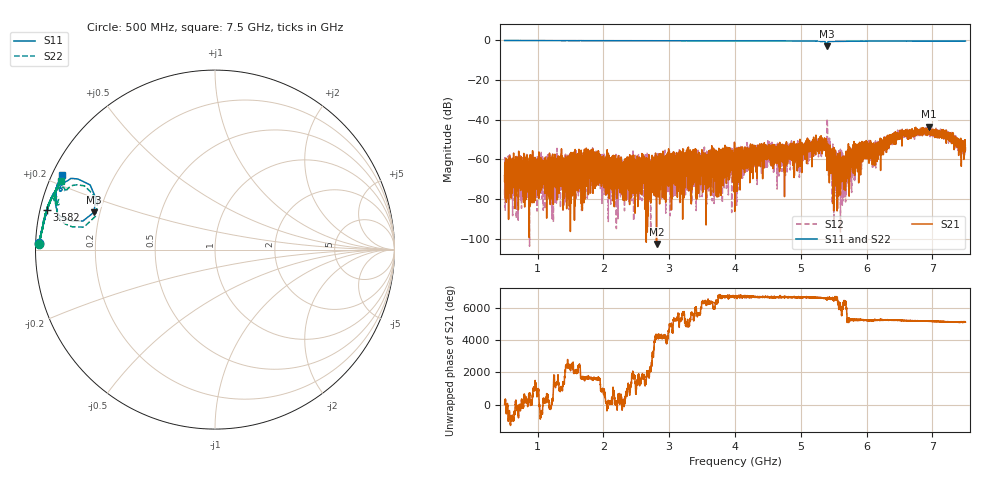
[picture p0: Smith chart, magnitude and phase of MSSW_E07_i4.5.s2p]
!Keysight Technologies,M9374A,MY55442783,A.12.55.05
!Date: Thursday, May 20, 2021 17:18:45
!Correction: S11(Full 2 Port(1,2))
!S21(Full 2 Port(1,2))
!S12(Full 2 Port(1,2))
!S22(Full 2 Port(1,2))
!S2P File: Measurements: S11, S21, S12, S22:
# Hz S  RI  R 50
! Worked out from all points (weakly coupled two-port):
!   7001 points, 500 MHz to 7.5 GHz, reference 50 ohm
!   highest |S21| = -43.52 dB at 6.947 GHz (marker M1); lowest = -102.5 dB at 2.808 GHz (marker M2)
!   lowest |S11| = -3.0 dB at 5.392 GHz (marker M3), VSWR 5.79, Z = 8.83 + j7.32 ohm
!   |S11| at or under -10 dB: nowhere
!   |S22| runs from -3.2 to -0.1 dB; largest |S21 - S12| = 0.01
!   S11 on the Smith chart (normalised r, x): 500 MHz: 0.01, +0.02; 3.582 GHz: 0.02, +0.12; 7.5 GHz: 0.03, +0.23
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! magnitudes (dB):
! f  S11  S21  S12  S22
! 500 MHz  -0.2  -68.1  -75.1  -0.2
! 554 MHz  -0.2  -62.2  -75.6  -0.2
! 859 MHz  -0.2  -67.2  -73.8  -0.2
! 1.029 GHz  -0.2  -62.1  -65.1  -0.2
! 1.667 GHz  -0.3  -57.7  -66.4  -0.3
! 1.836 GHz  -0.3  -64.3  -64.7  -0.3
! 2.313 GHz  -0.3  -66.0  -71.9  -0.3
! 2.808 GHz  -0.3  -102.5  -71.7  -0.3
! 2.834 GHz  -0.3  -71.0  -68.2  -0.3
! 3.582 GHz  -0.3  -74.4  -63.1  -0.3
! 4 GHz  -0.3  -56.1  -63.2  -0.3
! 4.377 GHz  -0.4  -52.2  -57.0  -0.3
! 5.167 GHz  -0.5  -52.3  -51.0  -0.4
! 5.312 GHz  -0.8  -50.1  -58.5  -0.9
! 5.392 GHz  -3.0  -53.7  -52.0  -3.2
! 5.527 GHz  -0.6  -58.8  -71.4  -0.8
! 5.633 GHz  -0.5  -63.4  -57.0  -0.6
! 5.862 GHz  -0.5  -66.2  -57.4  -0.6
! 6.123 GHz  -0.5  -59.1  -54.0  -0.5
! 6.334 GHz  -0.5  -47.9  -51.0  -0.5
! 6.947 GHz  -0.5  -43.5  -46.1  -0.5
! 7.5 GHz  -0.5  -54.1  -53.3  -0.5
